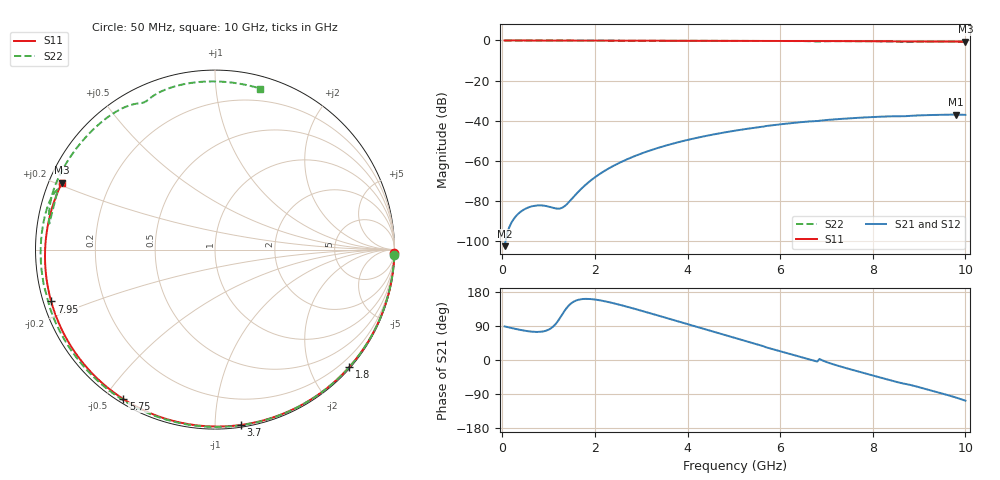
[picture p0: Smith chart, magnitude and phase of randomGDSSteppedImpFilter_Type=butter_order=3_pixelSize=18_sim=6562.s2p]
! freq	dB(S11)	phase(S11)	dB(S12)	phase(S12)
!  dB(S21)	phase(S21)	dB(S22)	phase(S22)
!S-par simulation data
#  GHz  S  DB  R 50
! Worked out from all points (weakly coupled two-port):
!   200 points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, 50 MHz to 10 GHz, reference 50 ohm
!   highest |S21| = -36.95 dB at 9.8 GHz (marker M1); lowest = -102.5 dB at 50 MHz (marker M2)
!   lowest |S11| = -0.6 dB at 10 GHz (marker M3), VSWR 27.92, Z = 1.87 + j10.4 ohm
!   |S11| at or under -10 dB: nowhere
!   |S22| runs from -0.8 to 0.0 dB; largest |S21 - S12| = 0
!   S11 on the Smith chart (normalised r, x): 50 MHz: 0, -97; 1.8 GHz: 0.02, -2.66; 3.7 GHz: 0.01, -1.16; 5.75 GHz: 0.02, -0.56; 7.95 GHz: 0.02, -0.15; 10 GHz: 0.04, +0.21
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0.05  -0.00 -1.2  -102.48 88.6  -102.48 88.6  -0.00 -1.8
0.7  -0.02 -16.3  -82.36 74.3  -82.36 74.3  -0.03 -24.5
1.45  -0.04 -33.4  -80.24 145.5  -80.24 145.5  -0.06 -49.9
1.75  -0.05 -40.2  -72.92 161.0  -72.92 161.0  -0.07 -59.7
1.8  -0.05 -41.3  -71.88 161.3  -71.88 161.3  -0.07 -61.3
2.1  -0.06 -47.9  -66.57 157.7  -66.57 157.7  -0.09 -70.9
2.45  -0.07 -55.5  -61.87 148.4  -61.87 148.4  -0.10 -81.7
3.4  -0.10 -75.6  -53.26 116.1  -53.26 116.1  -0.13 -109.6
3.7  -0.11 -81.7  -51.29 105.3  -51.29 105.3  -0.14 -118.0
4.4  -0.14 -95.7  -47.55 80.2  -47.55 80.2  -0.18 -136.8
5.05  -0.17 -108.3  -44.85 57.2  -44.85 57.2  -0.20 -153.7
5.65  -0.20 -119.6  -42.86 36.0  -42.86 36.0  -0.23 -169.2
5.75  -0.20 -121.5  -42.47 31.6  -42.47 31.6  -0.24 -174.9
6.7  -0.27 -139.1  -40.24 -0.8  -40.24 -0.8  -0.42 161.4
6.8  -0.28 -141.0  -40.15 -4.2  -40.15 -4.2  -0.56 158.9
6.85  -0.28 -141.9  -40.04 2.8  -40.04 2.8  -0.59 171.1
7.2  -0.31 -148.4  -39.27 -13.4  -39.27 -13.4  -0.36 156.5
7.95  -0.38 -162.4  -38.20 -39.2  -38.20 -39.2  -0.42 135.7
8.35  -0.42 -170.1  -37.83 -52.5  -37.83 -52.5  -0.50 124.5
9.05  -0.50 176.2  -37.29 -73.5  -37.29 -73.5  -0.60 107.1
9.8  -0.60 160.7  -36.95 -99.2  -36.95 -99.2  -0.59 81.9
10  -0.62 156.4  -37.07 -107.3  -37.07 -107.3  -0.61 74.3
